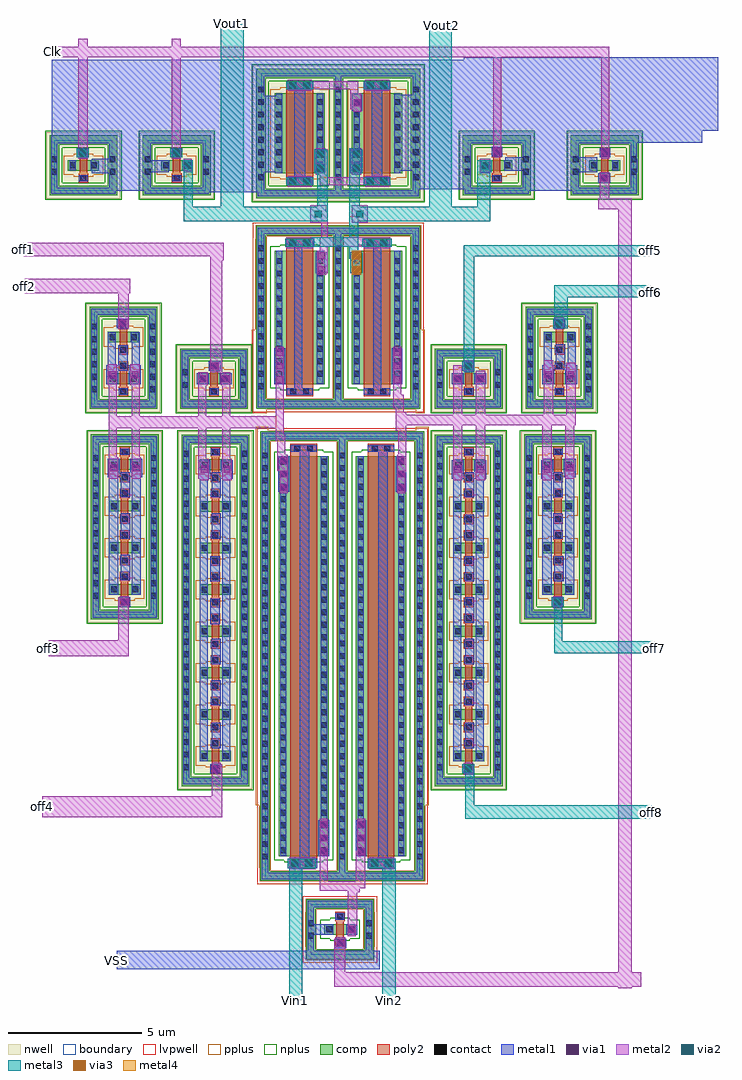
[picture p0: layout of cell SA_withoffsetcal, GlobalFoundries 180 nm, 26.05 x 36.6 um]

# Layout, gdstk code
from math import pi, radians
import gdstk
lib = gdstk.Library(unit=1e-6, precision=1e-09)
def R(c, l, rs):  # rectangles x0, y0, x1, y1
    for r in rs: c.add(gdstk.rectangle(r[:2], r[2:], *l))
def A(c, l, x, y, w, h, nx, ny, dx, dy):  # array of equal rectangles
    R(c, l, [(x+i*dx, y+j*dy, x+i*dx+w, y+j*dy+h) for i in range(nx) for j in range(ny)])
boundary = (0, 0)
nwell = (21, 0)
comp = (22, 0)
poly2 = (30, 0)
pplus = (31, 0)
nplus = (32, 0)
contact = (33, 0)
metal1 = (34, 0)
via1 = (35, 0)
metal2 = (36, 0)
via2 = (38, 0)
via3 = (40, 0)
metal3 = (42, 0)
metal4 = (46, 0)
lvpwell = (204, 0)

nfet_03v3_z8672t = lib.new_cell('nfet_03v3_Z8672T')
R(nfet_03v3_z8672t, boundary, [(-1.09,-0.95,1.09,0.95)])
R(nfet_03v3_z8672t, comp, [(-1.27,-1.13,1.27,-0.77), (-1.27,-0.77,-0.91,0.77), (0.91,-0.77,1.27,0.77), (-0.58,-0.2,0.58,0.2), (-1.27,0.77,1.27,1.13)])
R(nfet_03v3_z8672t, poly2, [(-0.18,-0.66,0.18,-0.3), (-0.14,-0.3,0.14,0.3), (-0.18,0.3,0.18,0.66)])
R(nfet_03v3_z8672t, pplus, [(-1.29,-1.15,1.29,-0.75), (-1.29,-0.75,-0.88,-0.645), (0.88,-0.75,1.29,-0.645), (-1.3,-0.645,-0.88,0.645), (0.88,-0.645,1.3,0.645), (-1.29,0.645,-0.88,0.75), (0.88,0.645,1.29,0.75), (-1.29,0.75,1.29,1.15)])
R(nfet_03v3_z8672t, nplus, [(-0.37,-0.43,0.37,-0.36), (-0.74,-0.36,0.74,0.36), (-0.37,0.36,0.37,0.43)])
R(nfet_03v3_z8672t, contact, [(-0.11,-0.59,0.11,-0.37), (-1.2,-0.345,-0.98,-0.125), (0.98,-0.345,1.2,-0.125), (-0.51,-0.11,-0.29,0.11), (0.29,-0.11,0.51,0.11), (-1.2,0.125,-0.98,0.345), (0.98,0.125,1.2,0.345), (-0.11,0.37,0.11,0.59)])
R(nfet_03v3_z8672t, metal1, [(-1.49,-1.5,1.66,-0.8), (-1.205,-0.8,-0.975,0.835), (0.975,-0.8,1.205,0.835), (-0.17,-0.595,0.17,-0.365), (-0.515,-0.19,-0.285,0.19), (0.285,-0.19,0.515,0.19), (-0.17,0.365,0.17,0.595), (-1.205,0.835,1.205,1.065)])
R(nfet_03v3_z8672t, lvpwell, [(-1.39,-1.25,1.39,1.25)])

pfet_03v3_gu2533 = lib.new_cell('pfet_03v3_GU2533')
R(pfet_03v3_gu2533, boundary, [(-1.09,-3.29,1.09,3.29)])
R(pfet_03v3_gu2533, nwell, [(-1.39,-3.59,1.39,3.59)])
A(pfet_03v3_gu2533, comp, -0.58, -2.54, 1.16, 0.4, 1, 4, 0, 1.56)
R(pfet_03v3_gu2533, comp, [(-1.27,-3.47,1.27,-3.11), (-1.27,-3.11,-0.91,3.11), (0.91,-3.11,1.27,3.11), (-1.27,3.11,1.27,3.47)])
A(pfet_03v3_gu2533, poly2, -0.14, -2.64, 0.28, 0.6, 1, 4, 0, 1.56)
R(pfet_03v3_gu2533, poly2, [(-0.18,-3,0.18,-2.64), (-0.18,-2.04,0.18,-1.68), (-0.18,-1.44,0.18,-1.08), (-0.18,-0.48,0.18,-0.12), (-0.18,0.12,0.18,0.48), (-0.18,1.08,0.18,1.44), (-0.18,1.68,0.18,2.04), (-0.18,2.64,0.18,3)])
A(pfet_03v3_gu2533, pplus, -0.74, -2.7, 1.48, 0.72, 1, 4, 0, 1.56)
R(pfet_03v3_gu2533, pplus, [(-0.37,-2.77,0.37,-2.7), (-0.37,-1.98,0.37,-1.91), (-0.37,-1.21,0.37,-1.14), (-0.37,-0.42,0.37,-0.35), (-0.37,0.35,0.37,0.42), (-0.37,1.14,0.37,1.21), (-0.37,1.91,0.37,1.98), (-0.37,2.7,0.37,2.77)])
R(pfet_03v3_gu2533, nplus, [(-1.43,-3.63,1.43,-3), (-1.43,-3,-0.8,3), (0.8,-3,1.43,3), (-1.43,3,1.43,3.63)])
A(pfet_03v3_gu2533, contact, -1.2, -2.695, 0.22, 0.22, 1, 12, 0, 0.47)
A(pfet_03v3_gu2533, contact, 0.98, -2.695, 0.22, 0.22, 1, 12, 0, 0.47)
A(pfet_03v3_gu2533, contact, -0.51, -2.45, 0.22, 0.22, 1, 4, 0, 1.56)
A(pfet_03v3_gu2533, contact, 0.29, -2.45, 0.22, 0.22, 1, 4, 0, 1.56)
R(pfet_03v3_gu2533, contact, [(-0.11,-2.93,0.11,-2.71), (-0.11,-1.97,0.11,-1.75), (-0.11,-1.37,0.11,-1.15), (-0.11,-0.41,0.11,-0.19), (-0.11,0.19,0.11,0.41), (-0.11,1.15,0.11,1.37), (-0.11,1.75,0.11,1.97), (-0.11,2.71,0.11,2.93)])
A(pfet_03v3_gu2533, metal1, -0.515, -2.53, 0.23, 0.38, 1, 4, 0, 1.56)
A(pfet_03v3_gu2533, metal1, 0.285, -2.53, 0.23, 0.38, 1, 4, 0, 1.56)
R(pfet_03v3_gu2533, metal1, [(-1.205,-3.405,1.205,-3.175), (-1.205,-3.175,-0.975,3.175), (0.975,-3.175,1.205,3.175), (-0.17,-2.935,0.17,-2.705), (-0.17,-1.975,0.17,-1.745), (-0.17,-1.375,0.17,-1.145), (-0.17,-0.415,0.17,-0.185), (-0.17,0.185,0.17,0.415), (-0.17,1.145,0.17,1.375), (-0.17,1.745,0.17,1.975), (-0.17,2.705,0.17,2.935), (-1.205,3.175,1.205,3.405)])

pfet_03v3_hvktjn = lib.new_cell('pfet_03v3_HVKTJN')
R(pfet_03v3_hvktjn, boundary, [(-1.09,-6.41,1.09,6.41)])
R(pfet_03v3_hvktjn, nwell, [(-1.39,-6.71,1.39,6.71)])
A(pfet_03v3_hvktjn, comp, -0.58, -5.66, 1.16, 0.4, 1, 8, 0, 1.56)
R(pfet_03v3_hvktjn, comp, [(-1.27,-6.59,1.27,-6.23), (-1.27,-6.23,-0.91,6.23), (0.91,-6.23,1.27,6.23), (-1.27,6.23,1.27,6.59)])
A(pfet_03v3_hvktjn, poly2, -0.14, -5.76, 0.28, 0.6, 1, 8, 0, 1.56)
R(pfet_03v3_hvktjn, poly2, [(-0.18,-6.12,0.18,-5.76), (-0.18,-5.16,0.18,-4.8), (-0.18,-4.56,0.18,-4.2), (-0.18,-3.6,0.18,-3.24), (-0.18,-3,0.18,-2.64), (-0.18,-2.04,0.18,-1.68), (-0.18,-1.44,0.18,-1.08), (-0.18,-0.48,0.18,-0.12), (-0.18,0.12,0.18,0.48), (-0.18,1.08,0.18,1.44), (-0.18,1.68,0.18,2.04), (-0.18,2.64,0.18,3), (-0.18,3.24,0.18,3.6), (-0.18,4.2,0.18,4.56), (-0.18,4.8,0.18,5.16), (-0.18,5.76,0.18,6.12)])
A(pfet_03v3_hvktjn, pplus, -0.74, -5.82, 1.48, 0.72, 1, 8, 0, 1.56)
R(pfet_03v3_hvktjn, pplus, [(-0.37,-5.89,0.37,-5.82), (-0.37,-5.1,0.37,-5.03), (-0.37,-4.33,0.37,-4.26), (-0.37,-3.54,0.37,-3.47), (-0.37,-2.77,0.37,-2.7), (-0.37,-1.98,0.37,-1.91), (-0.37,-1.21,0.37,-1.14), (-0.37,-0.42,0.37,-0.35), (-0.37,0.35,0.37,0.42), (-0.37,1.14,0.37,1.21), (-0.37,1.91,0.37,1.98), (-0.37,2.7,0.37,2.77), (-0.37,3.47,0.37,3.54), (-0.37,4.26,0.37,4.33), (-0.37,5.03,0.37,5.1), (-0.37,5.82,0.37,5.89)])
R(pfet_03v3_hvktjn, nplus, [(-1.43,-6.75,1.43,-6.12), (-1.43,-6.12,-0.8,6.12), (0.8,-6.12,1.43,6.12), (-1.43,6.12,1.43,6.75)])
A(pfet_03v3_hvktjn, contact, -1.2, -5.985, 0.22, 0.22, 1, 26, 0, 0.47)
A(pfet_03v3_hvktjn, contact, 0.98, -5.985, 0.22, 0.22, 1, 26, 0, 0.47)
A(pfet_03v3_hvktjn, contact, -0.51, -5.57, 0.22, 0.22, 1, 8, 0, 1.56)
A(pfet_03v3_hvktjn, contact, 0.29, -5.57, 0.22, 0.22, 1, 8, 0, 1.56)
R(pfet_03v3_hvktjn, contact, [(-0.11,-6.05,0.11,-5.83), (-0.11,-5.09,0.11,-4.87), (-0.11,-4.49,0.11,-4.27), (-0.11,-3.53,0.11,-3.31), (-0.11,-2.93,0.11,-2.71), (-0.11,-1.97,0.11,-1.75), (-0.11,-1.37,0.11,-1.15), (-0.11,-0.41,0.11,-0.19), (-0.11,0.19,0.11,0.41), (-0.11,1.15,0.11,1.37), (-0.11,1.75,0.11,1.97), (-0.11,2.71,0.11,2.93), (-0.11,3.31,0.11,3.53), (-0.11,4.27,0.11,4.49), (-0.11,4.87,0.11,5.09), (-0.11,5.83,0.11,6.05)])
A(pfet_03v3_hvktjn, metal1, -0.515, -5.65, 0.23, 0.38, 1, 8, 0, 1.56)
A(pfet_03v3_hvktjn, metal1, 0.285, -5.65, 0.23, 0.38, 1, 8, 0, 1.56)
R(pfet_03v3_hvktjn, metal1, [(-1.205,-6.525,1.205,-6.295), (-1.205,-6.295,-0.975,6.295), (0.975,-6.295,1.205,6.295), (-0.17,-6.055,0.17,-5.825), (-0.17,-5.095,0.17,-4.865), (-0.17,-4.495,0.17,-4.265), (-0.17,-3.535,0.17,-3.305), (-0.17,-2.935,0.17,-2.705), (-0.17,-1.975,0.17,-1.745), (-0.17,-1.375,0.17,-1.145), (-0.17,-0.415,0.17,-0.185), (-0.17,0.185,0.17,0.415), (-0.17,1.145,0.17,1.375), (-0.17,1.745,0.17,1.975), (-0.17,2.705,0.17,2.935), (-0.17,3.305,0.17,3.535), (-0.17,4.265,0.17,4.495), (-0.17,4.865,0.17,5.095), (-0.17,5.825,0.17,6.055), (-1.205,6.295,1.205,6.525)])

pfet_03v3_hdltjn = lib.new_cell('pfet_03v3_HDLTJN')
R(pfet_03v3_hdltjn, boundary, [(-1.09,-1.73,1.09,1.73)])
R(pfet_03v3_hdltjn, nwell, [(-1.39,-2.03,1.39,2.03)])
R(pfet_03v3_hdltjn, comp, [(-1.27,-1.91,1.27,-1.55), (-1.27,-1.55,-0.91,1.55), (0.91,-1.55,1.27,1.55), (-0.58,-0.98,0.58,-0.58), (-0.58,0.58,0.58,0.98), (-1.27,1.55,1.27,1.91)])
R(pfet_03v3_hdltjn, poly2, [(-0.18,-1.44,0.18,-1.08), (-0.14,-1.08,0.14,-0.48), (-0.18,-0.48,0.18,-0.12), (-0.18,0.12,0.18,0.48), (-0.14,0.48,0.14,1.08), (-0.18,1.08,0.18,1.44)])
R(pfet_03v3_hdltjn, pplus, [(-0.37,-1.21,0.37,-1.14), (-0.74,-1.14,0.74,-0.42), (-0.37,-0.42,0.37,-0.35), (-0.37,0.35,0.37,0.42), (-0.74,0.42,0.74,1.14), (-0.37,1.14,0.37,1.21)])
R(pfet_03v3_hdltjn, nplus, [(-1.43,-2.07,1.43,-1.44), (-1.43,-1.44,-0.8,1.44), (0.8,-1.44,1.43,1.44), (-1.43,1.44,1.43,2.07)])
A(pfet_03v3_hdltjn, contact, -1.2, -1.285, 0.22, 0.22, 1, 6, 0, 0.47)
A(pfet_03v3_hdltjn, contact, 0.98, -1.285, 0.22, 0.22, 1, 6, 0, 0.47)
R(pfet_03v3_hdltjn, contact, [(-0.11,-1.37,0.11,-1.15), (-0.51,-0.89,-0.29,-0.67), (0.29,-0.89,0.51,-0.67), (-0.11,-0.41,0.11,-0.19), (-0.11,0.19,0.11,0.41), (-0.51,0.67,-0.29,0.89), (0.29,0.67,0.51,0.89), (-0.11,1.15,0.11,1.37)])
R(pfet_03v3_hdltjn, metal1, [(-1.205,-1.845,1.205,-1.615), (-1.205,-1.615,-0.975,1.615), (0.975,-1.615,1.205,1.615), (-0.17,-1.375,0.17,-1.145), (-0.515,-0.97,-0.285,-0.59), (0.285,-0.97,0.515,-0.59), (-0.17,-0.415,0.17,-0.185), (-0.17,0.185,0.17,0.415), (-0.515,0.59,-0.285,0.97), (0.285,0.59,0.515,0.97), (-0.17,1.145,0.17,1.375), (-1.205,1.615,1.205,1.845)])

pfet_03v3_h5r3by = lib.new_cell('pfet_03v3_H5R3BY')
R(pfet_03v3_h5r3by, boundary, [(-1.09,-0.95,1.09,0.95)])
R(pfet_03v3_h5r3by, nwell, [(-1.39,-1.25,1.39,1.25)])
R(pfet_03v3_h5r3by, comp, [(-1.27,-1.13,1.27,-0.77), (-1.27,-0.77,-0.91,0.77), (0.91,-0.77,1.27,0.77), (-0.58,-0.2,0.58,0.2), (-1.27,0.77,1.27,1.13)])
R(pfet_03v3_h5r3by, poly2, [(-0.18,-0.66,0.18,-0.3), (-0.14,-0.3,0.14,0.3), (-0.18,0.3,0.18,0.66)])
R(pfet_03v3_h5r3by, pplus, [(-0.37,-0.43,0.37,-0.36), (-0.74,-0.36,0.74,0.36), (-0.37,0.36,0.37,0.43)])
R(pfet_03v3_h5r3by, nplus, [(-1.43,-1.29,1.43,-0.66), (-1.43,-0.66,-0.8,0.66), (0.8,-0.66,1.43,0.66), (-1.43,0.66,1.43,1.29)])
R(pfet_03v3_h5r3by, contact, [(-0.11,-0.59,0.11,-0.37), (-1.2,-0.345,-0.98,-0.125), (0.98,-0.345,1.2,-0.125), (-0.51,-0.11,-0.29,0.11), (0.29,-0.11,0.51,0.11), (-1.2,0.125,-0.98,0.345), (0.98,0.125,1.2,0.345), (-0.11,0.37,0.11,0.59)])
R(pfet_03v3_h5r3by, metal1, [(-1.205,-1.065,1.205,-0.835), (-1.205,-0.835,-0.975,0.835), (0.975,-0.835,1.205,0.835), (-0.17,-0.595,0.17,-0.365), (-0.515,-0.19,-0.285,0.19), (0.285,-0.19,0.515,0.19), (-0.17,0.365,0.17,0.595), (-1.205,0.835,1.205,1.065)])

nfet_03v3_e4svyl = lib.new_cell('nfet_03v3_E4SVYL')
R(nfet_03v3_e4svyl, boundary, [(-1.45,-3.25,1.45,3.25)])
R(nfet_03v3_e4svyl, comp, [(-1.63,-3.43,1.63,-3.07), (-1.63,-3.07,-1.27,3.07), (1.27,-3.07,1.63,3.07), (-0.94,-2.5,0.94,2.5), (-1.63,3.07,1.63,3.43)])
R(nfet_03v3_e4svyl, poly2, [(-0.5,-2.96,0.5,2.96)])
R(nfet_03v3_e4svyl, pplus, [(-1.65,-3.45,1.65,-3.05), (-1.65,-3.05,-1.24,-2.945), (1.24,-3.05,1.65,-2.945), (-1.66,-2.945,-1.24,2.945), (1.24,-2.945,1.66,2.945), (-1.65,2.945,-1.24,3.05), (1.24,2.945,1.65,3.05), (-1.65,3.05,1.65,3.45)])
R(nfet_03v3_e4svyl, nplus, [(-0.73,-2.73,0.73,-2.66), (-1.1,-2.66,1.1,2.66), (-0.73,2.66,0.73,2.73)])
A(nfet_03v3_e4svyl, contact, -1.56, -2.695, 0.22, 0.22, 1, 12, 0, 0.47)
A(nfet_03v3_e4svyl, contact, 1.34, -2.695, 0.22, 0.22, 1, 12, 0, 0.47)
A(nfet_03v3_e4svyl, contact, -0.87, -2.225, 0.22, 0.22, 1, 10, 0, 0.47)
A(nfet_03v3_e4svyl, contact, 0.65, -2.225, 0.22, 0.22, 1, 10, 0, 0.47)
R(nfet_03v3_e4svyl, contact, [(-0.345,-2.89,-0.125,-2.67), (0.125,-2.89,0.345,-2.67), (-0.345,2.67,-0.125,2.89), (0.125,2.67,0.345,2.89)])
R(nfet_03v3_e4svyl, metal1, [(-1.565,-3.365,1.565,-3.135), (-1.565,-3.135,-1.335,3.135), (1.335,-3.135,1.565,3.135), (-0.49,-2.895,0.49,-2.665), (-0.875,-2.49,-0.645,2.49), (0.645,-2.49,0.875,2.49), (-0.49,2.665,0.49,2.895), (-1.565,3.135,1.565,3.365)])
R(nfet_03v3_e4svyl, lvpwell, [(-1.75,-3.55,1.75,3.55)])

pfet_03v3_669f58 = lib.new_cell('pfet_03v3_669F58')
R(pfet_03v3_669f58, boundary, [(-1.45,-2.25,1.45,2.25)])
R(pfet_03v3_669f58, nwell, [(-1.75,-2.55,1.75,2.55)])
R(pfet_03v3_669f58, comp, [(-1.63,-2.43,1.63,-2.07), (-1.63,-2.07,-1.27,2.07), (1.27,-2.07,1.63,2.07), (-0.94,-1.5,0.94,1.5), (-1.63,2.07,1.63,2.43)])
R(pfet_03v3_669f58, poly2, [(-0.5,-1.96,0.5,1.96)])
R(pfet_03v3_669f58, pplus, [(-0.73,-1.73,0.73,-1.66), (-1.1,-1.66,1.1,1.66), (-0.73,1.66,0.73,1.73)])
R(pfet_03v3_669f58, nplus, [(-1.79,-2.59,1.79,-1.96), (-1.79,-1.96,-1.16,1.96), (1.16,-1.96,1.79,1.96), (-1.79,1.96,1.79,2.59)])
A(pfet_03v3_669f58, contact, -1.56, -1.755, 0.22, 0.22, 1, 8, 0, 0.47)
A(pfet_03v3_669f58, contact, 1.34, -1.755, 0.22, 0.22, 1, 8, 0, 0.47)
A(pfet_03v3_669f58, contact, -0.87, -1.285, 0.22, 0.22, 1, 6, 0, 0.47)
A(pfet_03v3_669f58, contact, 0.65, -1.285, 0.22, 0.22, 1, 6, 0, 0.47)
R(pfet_03v3_669f58, contact, [(-0.345,-1.89,-0.125,-1.67), (0.125,-1.89,0.345,-1.67), (-0.345,1.67,-0.125,1.89), (0.125,1.67,0.345,1.89)])
R(pfet_03v3_669f58, metal1, [(-1.565,-2.365,1.565,-2.135), (-1.565,-2.135,-1.335,2.135), (1.335,-2.135,1.565,2.135), (-0.49,-1.895,0.49,-1.665), (-0.875,-1.49,-0.645,1.49), (0.645,-1.49,0.875,1.49), (6.2,-0.35,12.2,0.1), (6.15,0.1,12.8,2.85), (-0.49,1.665,0.49,1.895), (-1.565,2.135,1.565,2.15), (-1.565,2.15,4.45,2.365), (-1.55,2.365,4.45,2.75)])

nfet_03v3_2kybzl = lib.new_cell('nfet_03v3_2KYBZL')
R(nfet_03v3_2kybzl, boundary, [(-1.45,-8.25,1.45,8.25)])
R(nfet_03v3_2kybzl, comp, [(-1.63,-8.43,1.63,-8.07), (-1.63,-8.07,-1.27,8.07), (1.27,-8.07,1.63,8.07), (-0.94,-7.5,0.94,7.5), (-1.63,8.07,1.63,8.43)])
R(nfet_03v3_2kybzl, poly2, [(-0.5,-7.96,0.5,7.96)])
R(nfet_03v3_2kybzl, pplus, [(-1.65,-8.45,1.65,-8.05), (-1.65,-8.05,-1.24,-7.945), (1.24,-8.05,1.65,-7.945), (-1.66,-7.945,-1.24,7.945), (1.24,-7.945,1.66,7.945), (-1.65,7.945,-1.24,8.05), (1.24,7.945,1.65,8.05), (-1.65,8.05,1.65,8.45)])
R(nfet_03v3_2kybzl, nplus, [(-0.73,-7.73,0.73,-7.66), (-1.1,-7.66,1.1,7.66), (-0.73,7.66,0.73,7.73)])
A(nfet_03v3_2kybzl, contact, -1.56, -7.63, 0.22, 0.22, 1, 33, 0, 0.47)
A(nfet_03v3_2kybzl, contact, 1.34, -7.63, 0.22, 0.22, 1, 33, 0, 0.47)
A(nfet_03v3_2kybzl, contact, -0.87, -7.395, 0.22, 0.22, 1, 32, 0, 0.47)
A(nfet_03v3_2kybzl, contact, 0.65, -7.395, 0.22, 0.22, 1, 32, 0, 0.47)
R(nfet_03v3_2kybzl, contact, [(-0.345,-7.89,-0.125,-7.67), (0.125,-7.89,0.345,-7.67), (-0.345,7.67,-0.125,7.89), (0.125,7.67,0.345,7.89)])
R(nfet_03v3_2kybzl, metal1, [(-1.565,-8.365,1.565,-8.135), (-1.565,-8.135,-1.335,8.135), (1.335,-8.135,1.565,8.135), (-0.49,-7.895,0.49,-7.665), (-0.875,-7.49,-0.645,7.49), (0.645,-7.49,0.875,7.49), (-0.49,7.665,0.49,7.895), (-1.565,8.135,1.565,8.365)])
R(nfet_03v3_2kybzl, lvpwell, [(-1.75,-8.55,1.75,8.55)])

sa_withoffsetcal = lib.new_cell('SA_withoffsetcal')
R(sa_withoffsetcal, nwell, [(23.1,-1.9,23.4,-0.55), (24.25,0.95,24.55,1.9), (22.9,1.7,23.4,1.95), (24.3,1.9,24.55,2)])
R(sa_withoffsetcal, pplus, [(20.71,-25.14,20.84,-11.605), (27.06,-25.14,27.19,-11.605), (20.71,-11.605,20.85,-11.1), (27.05,-11.605,27.19,-11.1), (20.71,-11.1,21.17,-10.96), (26.71,-11.1,27.19,-10.96), (20.56,-10.44,21.12,-10.3), (26.71,-10.44,27.04,-10.3), (20.56,-10.3,20.7,-9.795), (26.9,-10.3,27.04,-9.795), (21.11,-9.9,21.12,-7.31), (20.56,-9.795,20.69,-7.31), (26.91,-9.795,27.04,-7.31)])
A(sa_withoffsetcal, metal1, 28.55, -21.4, 0.35, 0.95, 1, 5, 0, 1.55)
R(sa_withoffsetcal, metal1, [(15.5,-31.3,22.3,-30.6), (23.65,-30.5,24.1,-30.15), (22.8,-30,23.6,-29.6), (24.1,-30,24.5,-29.6), (21.95,-27.5,23,-27.15), (24.9,-27.5,25.95,-27.15), (22.35,-27.15,22.7,-11.75), (25.3,-27.15,25.65,-11.7), (23.05,-27.05,23.45,-25.7), (24.45,-27.05,24.85,-25.7), (19,-23.95,19.45,-23.6), (28.45,-23.95,28.9,-23.6), (18.6,-23.5,18.9,-12.9), (19.45,-23.5,19.75,-12.9), (28.1,-23.5,28.4,-12.9), (28.95,-23.5,29.25,-12.9), (19.05,-23,19.4,-22.05), (28.55,-23,28.9,-22.05), (19.05,-21.4,19.4,-20.45), (19.05,-19.85,19.4,-18.9), (19,-18.35,19.35,-17.4), (15.55,-17.7,16,-17.35), (31.8,-17.7,32.25,-17.35), (15.2,-17.25,15.55,-12.85), (16.05,-17.25,16.4,-12.85), (31.45,-17.25,31.8,-12.9), (32.3,-17.25,32.65,-12.85), (19,-16.75,19.35,-15.8), (31.9,-16.75,32.25,-15.8), (15.65,-16.7,16,-15.75), (15.65,-15.15,16,-14.2), (19.05,-15.15,19.4,-14.2), (31.85,-15.15,32.2,-14.2), (15.65,-13.6,16,-12.85), (19.05,-13.6,19.4,-12.9), (28.55,-13.6,28.9,-12.9), (31.85,-13.6,32.2,-12.9), (21.55,-13.4,21.95,-12.05), (25.95,-13.4,26.35,-12.05), (18.55,-12.9,19,-12.2), (19.05,-12.9,19.85,-12.65), (28.05,-12.9,28.5,-12.2), (28.55,-12.9,29.35,-12.65), (31.4,-12.9,32.2,-12.65), (15.15,-12.85,15.6,-12.15), (15.65,-12.85,16.45,-12.65), (32.25,-12.85,32.7,-12.15), (16,-12.65,16.45,-12.15), (19.4,-12.65,19.85,-12.2), (28.9,-12.65,29.35,-12.2), (31.4,-12.65,31.85,-12.2), (31.45,-12.2,31.8,-12.15), (22.15,-9.7,22.45,-4.2), (25.1,-9.7,25.4,-4.2), (15.1,-9.35,15.55,-8.85), (15.95,-9.35,16.4,-8.65), (18.5,-9.35,18.95,-8.95), (19.35,-9.35,19.8,-8.95), (21.4,-9.35,21.8,-8), (25.8,-9.35,26.2,-8), (28.05,-9.35,28.5,-8.95), (28.9,-9.35,29.35,-8.95), (31.45,-9.35,31.9,-8.65), (32.3,-9.35,32.75,-8.8), (15.1,-8.85,15.9,-8.65), (18.95,-8.85,19.4,-8.5), (28.45,-8.85,28.9,-8.5), (31.95,-8.8,32.75,-8.65), (15.15,-8.65,15.45,-7.4), (15.55,-8.65,15.9,-7.9), (16.05,-8.65,16.35,-7.4), (31.5,-8.65,31.8,-7.4), (31.95,-8.65,32.3,-7.85), (32.4,-8.65,32.7,-7.4), (15.5,-7.25,15.95,-6.9), (31.85,-7.25,32.3,-6.9), (22.95,-5.2,23.4,-4.4), (24.25,-5.2,24.7,-4.4), (21.8,-4.2,22.9,-3.9), (24.7,-4.2,25.8,-3.9), (18.75,-2.15,20.9,-1.4), (15.3,-2.1,16.75,-1.45), (30.8,-2.1,32.75,-1.4), (26.7,-2.05,28.65,-1.4), (21.85,-1.9,22.85,-1.6), (24.75,-1.9,25.75,-1.6), (33.55,-1.8,34,-1.45), (22.15,-1.6,22.55,1.7), (25.05,-1.6,25.45,1.7), (14.55,-1.45,16.75,-1.4), (24.25,-1.45,24.7,-0.55), (14.55,-1.4,17.45,-0.95), (18.75,-1.4,21.65,-0.25), (22.9,-1.4,23.3,-0.55), (26.7,-1.4,28.55,-1.35), (29.1,-1.4,29.55,-0.95), (30.8,-1.4,33.5,-1.35), (34.85,-1.4,35,-0.9), (17.95,-1.35,18.35,-0.95), (25.95,-1.35,28.55,-0.9), (30.05,-1.35,33.5,-0.85), (14.55,-0.95,16.75,-0.9), (15.3,-0.9,16.75,-0.3), (25.95,-0.9,28.65,1.5), (14,-0.85,14.45,-0.5), (17.5,-0.85,17.95,-0.5), (30.8,-0.85,32.75,2.55), (33.6,-0.85,34,-0.5), (29.55,-0.8,29.95,-0.45), (15.3,-0.3,16.55,-0.25), (13.05,-0.25,21.65,1.45), (24.3,0.9,24.7,1.5), (13.05,1.45,20.95,2.2), (26.7,1.5,28.65,2.6), (21.85,1.7,22.85,2), (24.75,1.7,25.75,2), (13.05,2.2,21.05,2.8)])
A(sa_withoffsetcal, via1, 23.12, -27.025, 0.26, 0.26, 1, 3, 0, 0.52)
A(sa_withoffsetcal, via1, 24.52, -27.025, 0.26, 0.26, 1, 3, 0, 0.52)
A(sa_withoffsetcal, via1, 21.62, -13.375, 0.26, 0.26, 1, 3, 0, 0.52)
A(sa_withoffsetcal, via1, 26.02, -13.375, 0.26, 0.26, 1, 3, 0, 0.52)
A(sa_withoffsetcal, via1, 21.47, -9.325, 0.26, 0.26, 1, 3, 0, 0.52)
A(sa_withoffsetcal, via1, 25.87, -9.325, 0.26, 0.26, 1, 3, 0, 0.52)
R(sa_withoffsetcal, via1, [(23.745,-30.455,24.005,-30.195), (24.17,-29.93,24.43,-29.67), (22.085,-27.455,22.345,-27.195), (22.605,-27.455,22.865,-27.195), (25.035,-27.455,25.295,-27.195), (25.555,-27.455,25.815,-27.195), (19.095,-23.905,19.355,-23.645), (28.545,-23.905,28.805,-23.645), (15.645,-17.655,15.905,-17.395), (31.895,-17.655,32.155,-17.395), (18.645,-12.68,18.905,-12.42), (19.495,-12.68,19.755,-12.42), (28.145,-12.68,28.405,-12.42), (28.995,-12.68,29.255,-12.42), (31.495,-12.68,31.755,-12.42), (15.245,-12.63,15.505,-12.37), (16.095,-12.63,16.355,-12.37), (32.345,-12.63,32.605,-12.37), (18.595,-9.28,18.855,-9.02), (19.445,-9.28,19.705,-9.02), (28.145,-9.28,28.405,-9.02), (28.995,-9.28,29.255,-9.02), (15.195,-9.13,15.455,-8.87), (16.045,-9.13,16.305,-8.87), (31.545,-9.13,31.805,-8.87), (32.395,-9.13,32.655,-8.87), (19.045,-8.805,19.305,-8.545), (28.545,-8.805,28.805,-8.545), (15.595,-7.205,15.855,-6.945), (31.945,-7.205,32.205,-6.945), (23.045,-5.19,23.305,-4.93), (24.345,-5.19,24.605,-4.93), (23.045,-4.67,23.305,-4.41), (24.345,-4.67,24.605,-4.41), (21.96,-4.18,22.22,-3.92), (22.48,-4.18,22.74,-3.92), (24.86,-4.18,25.12,-3.92), (25.38,-4.18,25.64,-3.92), (21.96,-1.88,22.22,-1.62), (22.48,-1.88,22.74,-1.62), (24.86,-1.88,25.12,-1.62), (25.38,-1.88,25.64,-1.62), (33.645,-1.755,33.905,-1.495), (24.345,-1.39,24.605,-1.13), (22.97,-1.365,23.23,-1.105), (29.195,-1.305,29.455,-1.045), (18.02,-1.28,18.28,-1.02), (24.345,-0.87,24.605,-0.61), (22.97,-0.845,23.23,-0.585), (14.095,-0.805,14.355,-0.545), (17.595,-0.805,17.855,-0.545), (33.67,-0.805,33.93,-0.545), (29.62,-0.755,29.88,-0.495), (24.37,1.07,24.63,1.33), (21.96,1.72,22.22,1.98), (22.48,1.72,22.74,1.98), (24.86,1.72,25.12,1.98), (25.38,1.72,25.64,1.98)])
R(sa_withoffsetcal, metal2, [(34.3,-32,34.8,-31.95), (23.65,-31.95,35.15,-31.4), (23.65,-31.4,24.05,-30.15), (34.3,-31.4,34.8,-2.8), (23.7,-30.15,24.05,-30.1), (24.15,-30.05,24.45,-29.65), (24.15,-29.65,24.5,-28.4), (24.15,-28.4,24.6,-28.35), (23.1,-28.35,24.6,-28.25), (23.1,-28.25,24.8,-28), (23.1,-28,23.4,-25.65), (24.45,-28,24.8,-26.85), (21.95,-27.55,22.95,-27.1), (24.95,-27.55,25.9,-27.1), (24.5,-26.85,24.8,-25.65), (12.7,-25.6,19.45,-24.8), (19.05,-24.8,19.45,-23.6), (28.5,-24,28.85,-23.55), (19.05,-23.6,19.4,-23.55), (12.95,-19.55,15.95,-18.95), (15.55,-18.95,15.95,-17.35), (31.85,-17.75,32.2,-17.3), (15.6,-17.35,15.95,-17.3), (21.6,-13.45,21.9,-12.6), (26,-13.45,26.3,-12.65), (18.6,-12.95,18.95,-12.9), (19.45,-12.95,19.8,-12.15), (28.1,-12.95,28.45,-10.9), (28.95,-12.95,29.3,-10.9), (31.45,-12.95,31.8,-10.9), (15.2,-12.9,15.55,-12.1), (16.05,-12.9,16.4,-12.1), (18.55,-12.9,18.95,-12.15), (32.3,-12.9,32.65,-10.9), (26,-12.65,26.35,-12), (21.5,-12.6,21.9,-12), (18.55,-12.15,18.85,-11), (19.45,-12.15,19.75,-11), (15.2,-12.1,15.5,-11), (16.05,-12.1,16.35,-11), (21.5,-12,21.8,-11.5), (26.05,-12,26.35,-11.1), (21.45,-11.5,21.8,-11.25), (21.45,-11.25,21.75,-11), (25.95,-11.1,26.35,-10.9), (15.2,-11,21.75,-10.55), (25.95,-10.9,32.7,-10.5), (15.2,-10.55,15.5,-9.4), (16.05,-10.55,16.35,-9.4), (18.55,-10.55,18.85,-9.4), (19.45,-10.55,19.75,-9.4), (21.45,-10.55,21.75,-7.95), (25.95,-10.5,26.35,-10.4), (28.1,-10.5,28.45,-8.65), (28.95,-10.5,29.3,-8.85), (31.5,-10.5,31.85,-8.45), (32.35,-10.5,32.7,-8.55), (25.95,-10.4,26.25,-10.25), (25.85,-10.25,26.25,-9.75), (25.85,-9.75,26.15,-7.95), (15.15,-9.4,15.5,-8.6), (16,-9.4,16.35,-8.6), (18.55,-9.4,18.9,-8.9), (19.4,-9.4,19.75,-8.9), (19,-8.9,19.45,-4.7), (28.5,-8.9,28.85,-8.45), (15.55,-7.3,15.9,-7.25), (31.9,-7.3,32.25,-6.85), (15.55,-7.25,15.95,-5.95), (12.05,-5.95,16,-5.4), (23,-5.25,23.35,-5.2), (24.3,-5.25,24.65,-4.35), (23,-5.2,23.4,-4.35), (19,-4.7,19.5,-4.55), (12,-4.55,19.5,-4.05), (23.1,-4.35,23.4,-4.2), (21.85,-4.25,22.85,-3.85), (24.75,-4.25,25.75,-4.2), (23.1,-4.2,25.75,-3.85), (23.15,-3.85,23.4,-3.3), (22.75,-3.3,23.4,-2.9), (24.3,-3.3,24.9,-2.65), (22.75,-2.9,23.35,-2.65), (33.55,-2.8,34.8,-2.4), (33.6,-2.4,33.95,-1.4), (21.9,-1.95,22.8,-1.55), (24.8,-1.95,25.7,-1.9), (23.1,-1.9,25.7,-1.6), (23.1,-1.6,23.4,-1.5), (24.8,-1.6,25.7,-1.55), (22.95,-1.5,23.4,-0.55), (24.3,-1.5,24.65,-0.5), (29.1,-1.45,29.5,-0.9), (18,-1.4,18.3,-0.9), (14.05,-0.9,14.4,2.9), (17.55,-0.9,17.9,2.9), (33.65,-0.9,33.95,2.9), (29.6,-0.85,29.9,2.9), (22.95,-0.55,23.3,-0.5), (24.35,0.85,24.65,0.95), (24.25,0.95,24.65,1.55), (24.25,1.55,24.55,1.7), (21.9,1.65,22.8,1.7), (24.8,1.65,25.7,2.05), (21.9,1.7,24.55,2), (21.9,2,22.8,2.05), (13.1,2.9,33.95,3.3), (14.05,3.3,14.4,3.6), (17.55,3.3,17.9,3.6)])
R(sa_withoffsetcal, via2, [(22.035,-27.455,22.295,-27.195), (22.555,-27.455,22.815,-27.195), (25.035,-27.455,25.295,-27.195), (25.555,-27.455,25.815,-27.195), (28.545,-23.905,28.805,-23.645), (31.895,-17.655,32.155,-17.395), (28.545,-8.805,28.805,-8.545), (31.945,-7.205,32.205,-6.945), (21.96,-4.18,22.22,-3.92), (22.48,-4.18,22.74,-3.92), (24.86,-4.18,25.12,-3.92), (25.38,-4.18,25.64,-3.92), (22.92,-3.105,23.18,-2.845), (24.47,-3.105,24.73,-2.845), (21.96,-1.88,22.22,-1.62), (22.48,-1.88,22.74,-1.62), (24.86,-1.88,25.12,-1.62), (25.38,-1.88,25.64,-1.62), (22.995,-1.39,23.255,-1.13), (24.345,-1.39,24.605,-1.13), (29.17,-1.305,29.43,-1.045), (18.02,-1.28,18.28,-1.02), (22.995,-0.87,23.255,-0.61), (24.345,-0.87,24.605,-0.61), (14.095,-0.805,14.355,-0.545), (17.595,-0.805,17.855,-0.545), (21.96,1.72,22.22,1.98), (22.48,1.72,22.74,1.98), (24.86,1.72,25.12,1.98), (25.38,1.72,25.64,1.98)])
R(sa_withoffsetcal, via3, [(24.345,-5.19,24.605,-4.93), (24.345,-4.67,24.605,-4.41)])
R(sa_withoffsetcal, metal3, [(21.95,-32.45,22.45,-27.5), (25.45,-32.45,25.95,-27.5), (21.9,-27.5,22.95,-27.15), (24.9,-27.5,25.95,-27.15), (28.55,-25.65,35.55,-25.15), (28.55,-25.15,28.9,-23.95), (28.45,-23.95,28.9,-23.6), (31.9,-19.45,35.65,-19), (31.9,-19,32.2,-17.7), (31.8,-17.7,32.25,-17.35), (28.5,-8.9,28.9,-8.85), (28.45,-8.85,28.9,-8.5), (28.5,-8.5,28.9,-4.55), (31.85,-7.25,32.4,-6.9), (31.9,-6.9,32.4,-6.1), (31.9,-6.1,35.5,-5.65), (24.25,-5.2,24.7,-4.65), (24.2,-4.65,24.7,-4.4), (28.5,-4.55,35.5,-4.15), (24.2,-4.4,24.55,-4.2), (21.8,-4.2,24.55,-3.9), (24.7,-4.2,25.8,-3.9), (22.8,-3.9,24.55,-3.85), (24.2,-3.85,24.55,-3.25), (18,-3.25,23.4,-2.7), (24.2,-3.25,29.5,-2.7), (18,-2.7,18.35,-1.35), (19.4,-2.7,20.25,4.15), (23,-2.7,23.4,-1.45), (24.2,-2.7,24.6,-1.45), (27.2,-2.7,28.05,4.1), (29,-2.7,29.5,-1.4), (21.85,-1.9,22.85,-1.6), (24.75,-1.9,25.75,-1.6), (22.9,-1.45,23.4,-0.6), (24.2,-1.45,24.7,-0.55), (29,-1.4,29.55,-0.95), (17.95,-1.35,18.35,-0.95), (14,-0.85,14.45,-0.5), (17.5,-0.85,17.95,-0.5), (22.9,-0.6,23.35,-0.55), (24.2,-0.55,24.6,-0.5), (21.85,1.7,22.85,2), (24.75,1.7,25.75,2)])
R(sa_withoffsetcal, metal4, [(24.3,-5.25,24.65,-4.35)])
R(sa_withoffsetcal, lvpwell, [(21.45,-11.5,21.75,-10.15), (24.2,-4.2,24.55,-3.05)])
sa_withoffsetcal.add(gdstk.Reference(nfet_03v3_z8672t, (23.86,-29.8), rotation=pi, x_reflection=True))
sa_withoffsetcal.add(gdstk.Reference(pfet_03v3_gu2533, (32.04,-14.71)))
sa_withoffsetcal.add(gdstk.Reference(pfet_03v3_hvktjn, (28.69,-17.84)))
sa_withoffsetcal.add(gdstk.Reference(pfet_03v3_gu2533, (15.79,-14.71), rotation=pi, x_reflection=True))
sa_withoffsetcal.add(gdstk.Reference(pfet_03v3_hvktjn, (19.19,-17.84)))
sa_withoffsetcal.add(gdstk.Reference(pfet_03v3_hdltjn, (15.74,-8.37)))
sa_withoffsetcal.add(gdstk.Reference(pfet_03v3_h5r3by, (19.14,-9.15)))
sa_withoffsetcal.add(gdstk.Reference(pfet_03v3_hdltjn, (32.09,-8.37)))
sa_withoffsetcal.add(gdstk.Reference(pfet_03v3_h5r3by, (28.69,-9.15)))
sa_withoffsetcal.add(gdstk.Reference(nfet_03v3_e4svyl, (25.25,-6.85)))
sa_withoffsetcal.add(gdstk.Reference(nfet_03v3_e4svyl, (22.35,-6.85)))
sa_withoffsetcal.add(gdstk.Reference(pfet_03v3_h5r3by, (33.79,-1.15), rotation=pi, x_reflection=True))
sa_withoffsetcal.add(gdstk.Reference(pfet_03v3_h5r3by, (29.74,-1.15)))
sa_withoffsetcal.add(gdstk.Reference(pfet_03v3_669f58, (25.25,0.05)))
sa_withoffsetcal.add(gdstk.Reference(pfet_03v3_669f58, (22.35,0.05)))
sa_withoffsetcal.add(gdstk.Reference(pfet_03v3_h5r3by, (17.74,-1.15)))
sa_withoffsetcal.add(gdstk.Reference(pfet_03v3_h5r3by, (14.24,-1.15)))
sa_withoffsetcal.add(gdstk.Reference(nfet_03v3_2kybzl, (22.5,-19.55)))
sa_withoffsetcal.add(gdstk.Reference(nfet_03v3_2kybzl, (25.4,-19.55)))
sa_withoffsetcal.add(gdstk.Label('Clk', (13.1,3.1), layer=36, texttype=10))
sa_withoffsetcal.add(gdstk.Label('Vin1', (22.2,-32.45), layer=42, texttype=10))
sa_withoffsetcal.add(gdstk.Label('Vin2', (25.7,-32.45), layer=42, texttype=10))
sa_withoffsetcal.add(gdstk.Label('VDD', (13.05,2.65), layer=34, texttype=10))
sa_withoffsetcal.add(gdstk.Label('VSS', (15.5,-30.95), layer=34, texttype=10))
sa_withoffsetcal.add(gdstk.Label('Vout1', (19.8,4.15), layer=42, texttype=10))
sa_withoffsetcal.add(gdstk.Label('Vout2', (27.65,4.1), layer=42, texttype=10))
sa_withoffsetcal.add(gdstk.Label('off5', (35.5,-4.35), layer=42, texttype=10))
sa_withoffsetcal.add(gdstk.Label('off6', (35.5,-5.9), layer=42, texttype=10))
sa_withoffsetcal.add(gdstk.Label('off7', (35.65,-19.25), layer=42, texttype=10))
sa_withoffsetcal.add(gdstk.Label('off8', (35.55,-25.4), layer=42, texttype=10))
sa_withoffsetcal.add(gdstk.Label('off1', (12,-4.3), layer=36, texttype=10))
sa_withoffsetcal.add(gdstk.Label('off2', (12.05,-5.7), layer=36, texttype=10))
sa_withoffsetcal.add(gdstk.Label('off3', (12.95,-19.25), layer=36, texttype=10))
sa_withoffsetcal.add(gdstk.Label('off4', (12.7,-25.2), layer=36, texttype=10))

lib.write_gds('SA_withoffsetcal.gds')
